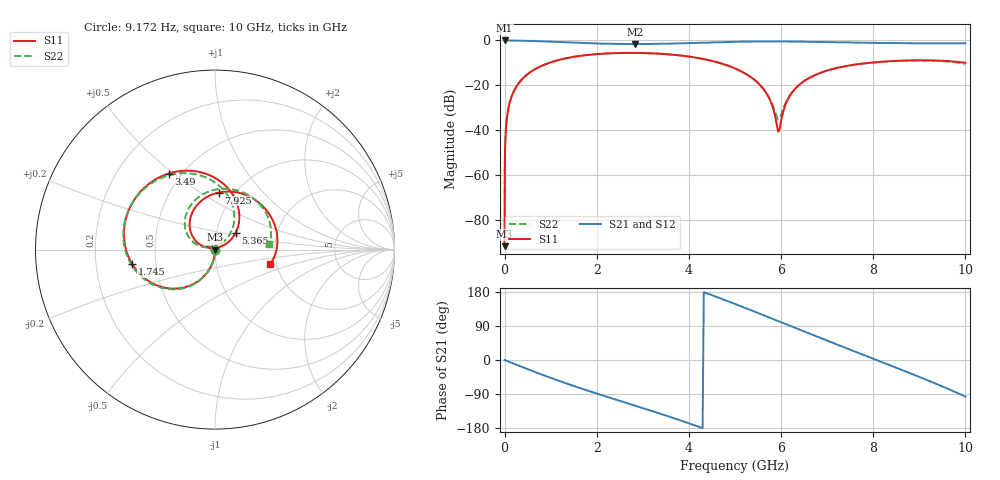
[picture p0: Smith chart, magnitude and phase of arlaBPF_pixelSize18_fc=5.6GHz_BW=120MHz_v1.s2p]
! Created Wed Aug 10 20:59:07 2022
! List of port names and net name(s): example Port n = <port_name> <net_name1> <net_name2> ...
! Port 1 = P1 P2
! Port 2 = P2 P2
# hz S ma R 50
! 2 Port Network Data from data block
! freq  magS11  angS11  magS21  angS21  magS12  angS12  magS22  angS22
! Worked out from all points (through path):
!   500 points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, 9.172 Hz to 10 GHz, reference 50 ohm
!   highest |S21| = 0.00 dB at 9.172 Hz (marker M1); lowest = -1.6 dB at 2.839 GHz (marker M2)
!   group delay of S21, straight-line fit = 124 ps
!   lowest |S11| = -91.7 dB at 9.172 Hz (marker M3), VSWR 1.00, Z = 50 - j3.42e-07 ohm
!   |S11| at or under -10 dB: start of sweep to 963.8 MHz; 4.661 GHz to 7.898 GHz (3.237 GHz wide, 51.6 % of centre)
!   |S22| runs from -91.7 to -5.5 dB; largest |S21 - S12| = 0
!   S11 on the Smith chart (normalised r, x): 9.172 Hz: 1.00, -0.00; 1.745 GHz: 0.36, -0.08; 3.49 GHz: 0.43, +0.48; 5.365 GHz: 1.23, +0.23; 7.925 GHz: 0.85, +0.60; 10 GHz: 1.84, -0.34
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9.171836  2.6e-05 -0.0  1 -0.0  1 -0.0  2.6e-05 -0.0
1154666  0.0004318 -86.6  1 -0.1  1 -0.1  0.0004318 -86.6
2303861  0.0008604 -88.4  1 -0.1  1 -0.1  0.0008605 -88.4
7302747  0.002726 -89.8  1 -0.4  1 -0.4  0.002726 -89.8
2.314815e7  0.00864 -91.1  0.9999 -1.1  0.9999 -1.1  0.00864 -91.1
8.680556e7  0.03231 -94.6  0.9987 -4.3  0.9987 -4.3  0.03231 -94.5
1.938657e8  0.07149 -100.2  0.9955 -9.5  0.9955 -9.5  0.07149 -100.0
7.118056e8  0.2451 -125.0  0.9649 -34.1  0.9649 -34.1  0.2451 -124.3
1.692708e9  0.461 -167.9  0.8776 -76.4  0.8776 -76.4  0.4611 -166.1
1.744792e9  0.468 -170.0  0.8737 -78.4  0.8737 -78.4  0.4681 -168.2
2.838542e9  0.5284 147.1  0.8325 -120.7  0.8325 -120.7  0.5284 150.3
3.359375e9  0.5066 126.6  0.8417 -140.9  0.8417 -140.9  0.5066 130.6
3.489583e9  0.4963 121.4  0.8466 -146.1  0.8466 -146.1  0.4963 125.6
5.026042e9  0.2318 54.2  0.9344 146.8  0.9344 146.8  0.2321 62.8
5.364583e9  0.147 38.9  0.9468 130.5  0.9468 130.5  0.1476 49.6
5.703125e9  0.06085 27.1  0.9519 114.1  0.9519 114.1  0.06265 43.1
5.9375e9  0.009303 85.0  0.9512 102.6  0.9512 102.6  0.01764 99.5
6.223958e9  0.06589 164.3  0.9463 88.6  0.9463 88.6  0.06729 167.4
6.666667e9  0.1566 146.8  0.9324 67.1  0.9324 67.1  0.1565 155.5
7.925347e9  0.3183 86.4  0.8858 7.2  0.8858 7.2  0.3156 102.2
8.368056e9  0.3453 64.9  0.8745 -13.9  0.8745 -13.9  0.3416 82.8
1e10  0.3171 -15.1  0.8667 -96.6  0.8667 -96.6  0.303 5.5
